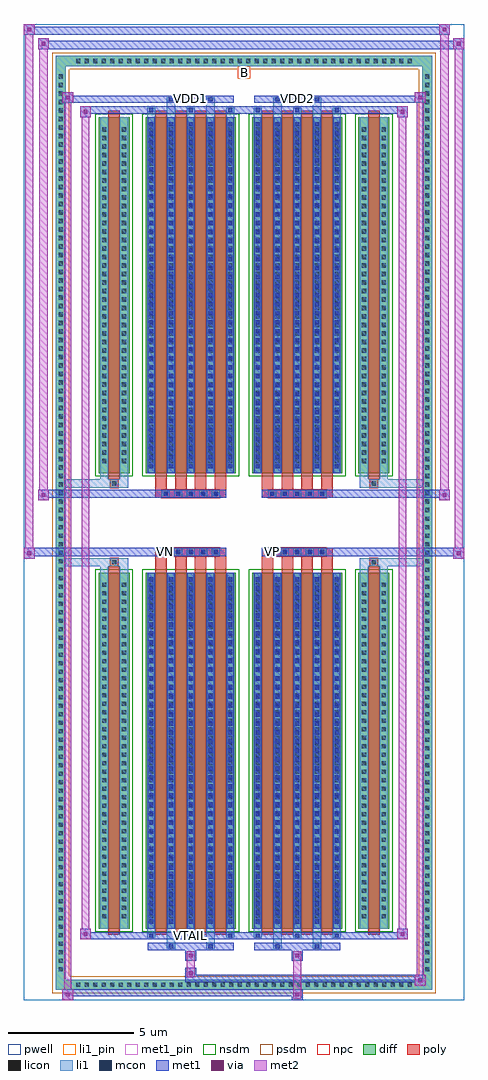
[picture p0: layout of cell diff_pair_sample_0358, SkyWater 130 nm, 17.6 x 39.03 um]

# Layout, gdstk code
import gdstk
lib = gdstk.Library(unit=1e-6, precision=5e-09)
def R(c, l, rs):  # rectangles x0, y0, x1, y1
    for r in rs: c.add(gdstk.rectangle(r[:2], r[2:], *l))
def A(c, l, x, y, w, h, nx, ny, dx, dy):  # array of equal rectangles
    R(c, l, [(x+i*dx, y+j*dy, x+i*dx+w, y+j*dy+h) for i in range(nx) for j in range(ny)])
def P(c, l, *ps):  # polygons
    for p in ps: c.add(gdstk.Polygon(p, *l))
pwell = (64, 44)
diff = (65, 20)
poly = (66, 20)
licon = (66, 44)
li1_pin = (67, 16)
li1 = (67, 20)
mcon = (67, 44)
met1_pin = (68, 16)
met1 = (68, 20)
via = (68, 44)
met2 = (69, 20)
nsdm = (93, 44)
psdm = (94, 20)
npc = (95, 20)

diff_pair_sample_0358 = lib.new_cell('diff_pair_sample_0358')
R(diff_pair_sample_0358, pwell, [(-8.8,-19.08,8.8,19.95), (-6.12,-17.27,-0.01,-0.795), (0.01,-17.27,6.12,-0.795), (-6.12,0.795,-0.01,17.27), (0.01,0.795,6.12,17.27)])
A(diff_pair_sample_0358, diff, -6.835, -18.68, 0.41, 0.41, 40, 2, 0.34, 36.95)
A(diff_pair_sample_0358, diff, -7.53, -18.055, 0.41, 0.41, 1, 106, 0, 0.34)
A(diff_pair_sample_0358, diff, 7.12, -18.055, 0.41, 0.41, 1, 106, 0, 0.34)
R(diff_pair_sample_0358, diff, [(-6.835,-18.68,6.835,-18.27), (-7.53,-18.055,-7.12,18.055), (7.12,-18.055,7.53,18.055), (-5.81,-16.225,-4.57,-1.985), (-3.93,-16.225,-0.32,-1.985), (0.32,-16.225,3.93,-1.985), (4.57,-16.225,5.81,-1.985), (-5.81,1.985,-4.57,16.225), (-3.93,1.985,-0.32,16.225), (0.32,1.985,3.93,16.225), (4.57,1.985,5.81,16.225), (-6.835,18.27,6.835,18.68)])
P(diff_pair_sample_0358, diff, [(7.53,18.68),(-7.53,18.68),(-7.53,-18.27),(-7.12,-18.27),(-7.12,18.27),(7.12,18.27),(7.12,-18.27),(-7.12,-18.27),(-7.53,-18.27),(-7.53,-18.68),(7.53,-18.68)])
A(diff_pair_sample_0358, poly, -3.54, -16.475, 0.46, 14.74, 4, 2, 0.79, 18.21)
A(diff_pair_sample_0358, poly, 0.71, -16.475, 0.46, 14.74, 4, 2, 0.79, 18.21)
A(diff_pair_sample_0358, poly, -3.54, -1.735, 0.46, 0.41, 4, 2, 0.79, 3.06)
A(diff_pair_sample_0358, poly, 0.71, -1.735, 0.46, 0.41, 4, 2, 0.79, 3.06)
A(diff_pair_sample_0358, poly, -3.29, -1.325, 0.33, 0.33, 5, 2, 0.5, 2.32)
A(diff_pair_sample_0358, poly, 0.96, -1.325, 0.33, 0.33, 5, 2, 0.5, 2.32)
R(diff_pair_sample_0358, poly, [(-5.42,-16.475,-4.96,-1.735), (4.96,-16.475,5.42,-1.735), (-5.355,-1.735,-5.025,-1.405), (-5.355,-1.735,-5.025,-1.405), (5.025,-1.735,5.355,-1.405), (5.025,-1.735,5.355,-1.405), (-3.54,-1.325,-0.71,-0.995), (0.71,-1.325,3.54,-0.995), (-3.54,0.995,-0.71,1.325), (0.71,0.995,3.54,1.325), (-5.355,1.405,-5.025,1.735), (-5.355,1.405,-5.025,1.735), (5.025,1.405,5.355,1.735), (5.025,1.405,5.355,1.735), (-5.42,1.735,-4.96,16.475), (4.96,1.735,5.42,16.475)])
A(diff_pair_sample_0358, licon, -6.715, -18.56, 0.17, 0.17, 40, 2, 0.34, 36.95)
A(diff_pair_sample_0358, licon, -7.41, -17.935, 0.17, 0.17, 1, 106, 0, 0.34)
A(diff_pair_sample_0358, licon, 7.24, -17.935, 0.17, 0.17, 1, 106, 0, 0.34)
A(diff_pair_sample_0358, licon, -5.67, -15.82, 0.17, 0.17, 1, 40, 0, 0.34)
A(diff_pair_sample_0358, licon, -4.88, -15.82, 0.17, 0.17, 1, 40, 0, 0.34)
A(diff_pair_sample_0358, licon, -3.79, -15.82, 0.17, 0.17, 5, 40, 0.79, 0.34)
A(diff_pair_sample_0358, licon, 0.46, -15.82, 0.17, 0.17, 5, 40, 0.79, 0.34)
A(diff_pair_sample_0358, licon, 4.71, -15.82, 0.17, 0.17, 1, 40, 0, 0.34)
A(diff_pair_sample_0358, licon, 5.5, -15.82, 0.17, 0.17, 1, 40, 0, 0.34)
A(diff_pair_sample_0358, licon, -3.21, -1.245, 0.17, 0.17, 5, 2, 0.5, 2.32)
A(diff_pair_sample_0358, licon, 1.04, -1.245, 0.17, 0.17, 5, 2, 0.5, 2.32)
A(diff_pair_sample_0358, licon, -5.67, 2.39, 0.17, 0.17, 1, 40, 0, 0.34)
A(diff_pair_sample_0358, licon, -4.88, 2.39, 0.17, 0.17, 1, 40, 0, 0.34)
A(diff_pair_sample_0358, licon, -3.79, 2.39, 0.17, 0.17, 5, 40, 0.79, 0.34)
A(diff_pair_sample_0358, licon, 0.46, 2.39, 0.17, 0.17, 5, 40, 0.79, 0.34)
A(diff_pair_sample_0358, licon, 4.71, 2.39, 0.17, 0.17, 1, 40, 0, 0.34)
A(diff_pair_sample_0358, licon, 5.5, 2.39, 0.17, 0.17, 1, 40, 0, 0.34)
R(diff_pair_sample_0358, licon, [(-5.275,-1.655,-5.105,-1.485), (5.105,-1.655,5.275,-1.485), (-5.275,1.485,-5.105,1.655), (5.105,1.485,5.275,1.655)])
R(diff_pair_sample_0358, li1_pin, [(-0.25,17.77,0.25,18.27)])
A(diff_pair_sample_0358, li1, -6.795, -18.64, 0.33, 0.33, 40, 2, 0.34, 36.95)
A(diff_pair_sample_0358, li1, -7.49, -18.015, 0.33, 0.33, 1, 106, 0, 0.34)
A(diff_pair_sample_0358, li1, 7.16, -18.015, 0.33, 0.33, 1, 106, 0, 0.34)
A(diff_pair_sample_0358, li1, -3.87, -16.6, 0.33, 0.375, 3, 2, 1.58, 32.825)
A(diff_pair_sample_0358, li1, -3.79, -16.6, 0.17, 0.17, 3, 2, 1.58, 33.03)
A(diff_pair_sample_0358, li1, 0.38, -16.6, 0.33, 0.375, 3, 2, 1.58, 32.825)
A(diff_pair_sample_0358, li1, 0.46, -16.6, 0.17, 0.17, 3, 2, 1.58, 33.03)
A(diff_pair_sample_0358, li1, -3.87, -16.225, 0.33, 14.24, 5, 2, 0.79, 18.21)
A(diff_pair_sample_0358, li1, 0.38, -16.225, 0.33, 14.24, 5, 2, 0.79, 18.21)
A(diff_pair_sample_0358, li1, -3.79, -16.03, 0.17, 0.17, 5, 39, 0.79, 0.36)
A(diff_pair_sample_0358, li1, -3.79, -16.03, 0.17, 13.85, 5, 2, 0.79, 18.21)
A(diff_pair_sample_0358, li1, 0.46, -16.03, 0.17, 0.17, 5, 39, 0.79, 0.36)
A(diff_pair_sample_0358, li1, 0.46, -16.03, 0.17, 13.85, 5, 2, 0.79, 18.21)
A(diff_pair_sample_0358, li1, -5.75, -15.9, 0.33, 0.33, 1, 40, 0, 0.34)
A(diff_pair_sample_0358, li1, -4.96, -15.9, 0.33, 0.33, 1, 40, 0, 0.34)
A(diff_pair_sample_0358, li1, -3.87, -15.9, 0.33, 0.33, 5, 40, 0.79, 0.34)
A(diff_pair_sample_0358, li1, 0.38, -15.9, 0.33, 0.33, 5, 40, 0.79, 0.34)
A(diff_pair_sample_0358, li1, 4.63, -15.9, 0.33, 0.33, 1, 40, 0, 0.34)
A(diff_pair_sample_0358, li1, 5.42, -15.9, 0.33, 0.33, 1, 40, 0, 0.34)
A(diff_pair_sample_0358, li1, -3.29, -1.325, 0.33, 0.33, 5, 2, 0.5, 2.32)
A(diff_pair_sample_0358, li1, 0.96, -1.325, 0.33, 0.33, 5, 2, 0.5, 2.32)
A(diff_pair_sample_0358, li1, -3.79, 2.18, 0.17, 0.17, 5, 39, 0.79, 0.36)
A(diff_pair_sample_0358, li1, 0.46, 2.18, 0.17, 0.17, 5, 39, 0.79, 0.36)
A(diff_pair_sample_0358, li1, -5.75, 2.31, 0.33, 0.33, 1, 40, 0, 0.34)
A(diff_pair_sample_0358, li1, -4.96, 2.31, 0.33, 0.33, 1, 40, 0, 0.34)
A(diff_pair_sample_0358, li1, -3.87, 2.31, 0.33, 0.33, 5, 40, 0.79, 0.34)
A(diff_pair_sample_0358, li1, 0.38, 2.31, 0.33, 0.33, 5, 40, 0.79, 0.34)
A(diff_pair_sample_0358, li1, 4.63, 2.31, 0.33, 0.33, 1, 40, 0, 0.34)
A(diff_pair_sample_0358, li1, 5.42, 2.31, 0.33, 0.33, 1, 40, 0, 0.34)
R(diff_pair_sample_0358, li1, [(-7.53,-18.68,-7.12,-18.27), (-7.53,-18.68,-7.12,-18.27), (-7.12,-18.68,7.12,-18.27), (7.12,-18.68,7.53,-18.27), (7.12,-18.68,7.53,-18.27), (-7.53,-18.27,-7.12,18.27), (7.12,-18.27,7.53,18.27), (-3.08,-17.03,-2.75,-16.225), (-3,-17.03,-2.83,-16.86), (-1.5,-17.03,-1.17,-16.225), (-1.42,-17.03,-1.25,-16.86), (1.17,-17.03,1.5,-16.225), (1.25,-17.03,1.42,-16.86), (2.75,-17.03,3.08,-16.225), (2.83,-17.03,3,-16.86), (-5.75,-16.225,-5.42,-1.985), (-4.96,-16.225,-4.63,-1.985), (4.63,-16.225,4.96,-1.985), (5.42,-16.225,5.75,-1.985), (-5.75,-1.985,-5.42,-1.405), (-4.96,-1.985,-4.63,-1.405), (4.63,-1.985,4.96,-1.405), (5.42,-1.985,5.75,-1.405), (-7.53,-1.735,-5.355,-1.405), (-5.75,-1.735,-5.355,-1.405), (-5.355,-1.735,-5.025,-1.405), (-5.025,-1.735,-4.63,-1.405), (4.63,-1.735,5.025,-1.405), (5.025,-1.735,5.355,-1.405), (5.025,-1.735,7.53,-1.405), (5.355,-1.735,5.75,-1.405), (-7.53,1.405,-5.355,1.735), (-5.75,1.405,-5.355,1.735), (-5.75,1.405,-5.42,1.985), (-5.355,1.405,-5.025,1.735), (-5.025,1.405,-4.63,1.735), (-4.96,1.405,-4.63,1.985), (4.63,1.405,5.025,1.735), (4.63,1.405,4.96,1.985), (5.025,1.405,5.355,1.735), (5.025,1.405,7.53,1.735), (5.355,1.405,5.75,1.735), (5.42,1.405,5.75,1.985), (-5.75,1.985,-5.42,16.225), (-4.96,1.985,-4.63,16.225), (4.63,1.985,4.96,16.225), (5.42,1.985,5.75,16.225), (-3.08,16.225,-2.75,17.03), (-1.5,16.225,-1.17,17.03), (1.17,16.225,1.5,17.03), (2.75,16.225,3.08,17.03), (-3,16.86,-2.83,17.03), (-1.42,16.86,-1.25,17.03), (1.25,16.86,1.42,17.03), (2.83,16.86,3,17.03), (-7.53,18.27,-7.12,18.68), (-7.53,18.27,-7.12,18.68), (-7.12,18.27,7.12,18.68), (7.12,18.27,7.53,18.68), (7.12,18.27,7.53,18.68)])
A(diff_pair_sample_0358, mcon, -3.79, -16.6, 0.17, 0.17, 3, 2, 1.58, 33.03)
A(diff_pair_sample_0358, mcon, 0.46, -16.6, 0.17, 0.17, 3, 2, 1.58, 33.03)
A(diff_pair_sample_0358, mcon, -3.79, -16.03, 0.17, 0.17, 5, 39, 0.79, 0.36)
A(diff_pair_sample_0358, mcon, 0.46, -16.03, 0.17, 0.17, 5, 39, 0.79, 0.36)
A(diff_pair_sample_0358, mcon, -3.21, -1.245, 0.17, 0.17, 5, 2, 0.5, 2.32)
A(diff_pair_sample_0358, mcon, 1.04, -1.245, 0.17, 0.17, 5, 2, 0.5, 2.32)
A(diff_pair_sample_0358, mcon, -3.79, 2.18, 0.17, 0.17, 5, 39, 0.79, 0.36)
A(diff_pair_sample_0358, mcon, 0.46, 2.18, 0.17, 0.17, 5, 39, 0.79, 0.36)
R(diff_pair_sample_0358, mcon, [(-3,-17.03,-2.83,-16.86), (-1.42,-17.03,-1.25,-16.86), (1.25,-17.03,1.42,-16.86), (2.83,-17.03,3,-16.86), (-3,16.86,-2.83,17.03), (-1.42,16.86,-1.25,17.03), (1.25,16.86,1.42,17.03), (2.83,16.86,3,17.03)])
R(diff_pair_sample_0358, met1_pin, [(-2.26,-16.64,-1.99,-16.37), (-3.26,-1.285,-2.99,-1.015), (0.99,-1.285,1.26,-1.015), (-2.26,16.82,-1.99,17.09), (1.99,16.82,2.26,17.09)])
A(diff_pair_sample_0358, met1, -3.85, -16.66, 0.29, 0.29, 3, 2, 1.58, 33.03)
A(diff_pair_sample_0358, met1, 0.4, -16.66, 0.29, 0.29, 3, 2, 1.58, 33.03)
A(diff_pair_sample_0358, met1, -3.85, -16.225, 0.29, 14.24, 5, 2, 0.79, 18.21)
A(diff_pair_sample_0358, met1, 0.4, -16.225, 0.29, 14.24, 5, 2, 0.79, 18.21)
A(diff_pair_sample_0358, met1, -3.85, -16.09, 0.29, 0.29, 5, 39, 0.79, 0.36)
A(diff_pair_sample_0358, met1, 0.4, -16.09, 0.29, 0.29, 5, 39, 0.79, 0.36)
A(diff_pair_sample_0358, met1, -3.27, -1.305, 0.29, 0.29, 5, 2, 0.5, 2.32)
A(diff_pair_sample_0358, met1, 0.98, -1.305, 0.29, 0.29, 5, 2, 0.5, 2.32)
A(diff_pair_sample_0358, met1, -3.85, 2.12, 0.29, 0.29, 5, 39, 0.79, 0.36)
A(diff_pair_sample_0358, met1, 0.4, 2.12, 0.29, 0.29, 5, 39, 0.79, 0.36)
R(diff_pair_sample_0358, met1, [(-7.26,-19.08,-6.83,-18.65), (1.91,-19.08,2.34,-18.65), (-7.26,-18.94,2.34,-18.65), (6.83,-18.51,7.26,-18.08), (-2.34,-18.37,7.26,-18.08), (-2.34,-18.23,-1.91,-17.8), (-2.34,-17.52,-1.91,-17.09), (1.91,-17.52,2.34,-17.09), (-3.85,-17.09,-0.4,-16.8), (-3.06,-17.09,-2.77,-16.8), (-1.48,-17.09,-1.19,-16.8), (0.4,-17.09,3.85,-16.8), (1.19,-17.09,1.48,-16.8), (2.77,-17.09,3.06,-16.8), (-6.55,-16.66,-6.12,-16.23), (-6.55,-16.66,-3.85,-16.37), (-3.85,-16.66,-0.4,-16.37), (-0.4,-16.66,0.4,-16.37), (0.4,-16.66,3.85,-16.37), (3.85,-16.66,6.55,-16.37), (6.12,-16.66,6.55,-16.23), (-8.8,-1.425,-8.37,-0.995), (8.37,-1.425,8.8,-0.995), (-8.8,-1.325,-0.71,-0.995), (-3.54,-1.325,-0.71,-0.995), (0.71,-1.325,3.54,-0.995), (0.71,-1.325,8.8,-0.995), (-8.23,0.895,-7.8,1.325), (7.8,0.895,8.23,1.325), (-8.23,0.995,-3.54,1.325), (-3.54,0.995,-0.71,1.325), (0.71,0.995,3.54,1.325), (3.54,0.995,8.23,1.325), (-6.55,16.23,-6.12,16.66), (6.12,16.23,6.55,16.66), (-6.55,16.37,-3.85,16.66), (-3.85,16.37,-0.4,16.66), (-0.4,16.37,0.4,16.66), (0.4,16.37,3.85,16.66), (3.85,16.37,6.55,16.66), (-7.26,16.8,-6.83,17.23), (-7.26,16.8,-3.85,17.09), (-3.85,16.8,-0.4,17.09), (-3.06,16.8,-2.77,17.09), (-1.48,16.8,-1.19,17.09), (0.4,16.8,3.85,17.09), (1.19,16.8,1.48,17.09), (2.77,16.8,3.06,17.09), (3.85,16.8,7.26,17.09), (6.83,16.8,7.26,17.23), (-8.23,18.95,-7.8,19.38), (-8.23,18.95,-6.12,19.28), (-6.12,18.95,6.12,19.28), (6.12,18.95,8.8,19.28), (8.37,18.95,8.8,19.38), (-8.8,19.52,-8.37,19.95), (-8.8,19.52,-6.12,19.85), (-6.12,19.52,6.12,19.85), (6.12,19.52,8.23,19.85), (7.8,19.52,8.23,19.95)])
R(diff_pair_sample_0358, via, [(-7.12,-18.94,-6.97,-18.79), (2.05,-18.94,2.2,-18.79), (6.97,-18.37,7.12,-18.22), (-2.2,-18.09,-2.05,-17.94), (-2.2,-17.38,-2.05,-17.23), (2.05,-17.38,2.2,-17.23), (-6.41,-16.52,-6.26,-16.37), (6.26,-16.52,6.41,-16.37), (-8.66,-1.285,-8.51,-1.135), (8.51,-1.285,8.66,-1.135), (-8.09,1.035,-7.94,1.185), (7.94,1.035,8.09,1.185), (-6.41,16.37,-6.26,16.52), (6.26,16.37,6.41,16.52), (-7.12,16.94,-6.97,17.09), (6.97,16.94,7.12,17.09), (-8.09,19.09,-7.94,19.24), (8.51,19.09,8.66,19.24), (-8.66,19.66,-8.51,19.81), (7.94,19.66,8.09,19.81)])
R(diff_pair_sample_0358, met2, [(-7.26,-19.08,-6.83,-18.65), (-7.19,-19.08,-6.9,17.23), (-6.9,-19.08,-6.83,-18.65), (-7.21,-19.03,-6.88,-18.7), (1.96,-19.03,2.29,-18.7), (1.96,-18.7,2.29,-17.47), (6.83,-18.51,7.26,-18.08), (6.9,-18.51,7.19,17.23), (7.19,-18.51,7.26,-18.08), (6.88,-18.46,7.21,-18.13), (-2.29,-18.18,-1.96,-17.85), (-2.29,-17.85,-1.96,-17.47), (-2.29,-17.47,-1.96,-17.14), (1.96,-17.47,2.29,-17.14), (-6.55,-16.66,-6.12,-16.23), (-6.48,-16.66,-6.19,16.66), (-6.19,-16.66,-6.12,-16.23), (6.12,-16.66,6.55,-16.23), (6.19,-16.66,6.48,16.66), (6.48,-16.66,6.55,-16.23), (-6.5,-16.61,-6.17,-16.28), (6.17,-16.61,6.5,-16.28), (-8.8,-1.425,-8.37,-0.995), (-8.75,-1.425,-8.42,19.95), (-8.42,-1.425,-8.37,-0.995), (8.37,-1.425,8.8,-0.995), (8.42,-1.425,8.75,19.38), (8.75,-1.425,8.8,-0.995), (-8.75,-1.375,-8.42,-1.045), (8.42,-1.375,8.75,-1.045), (-8.23,0.895,-7.8,1.325), (-8.18,0.895,-7.85,19.38), (-7.85,0.895,-7.8,1.325), (7.8,0.895,8.23,1.325), (7.85,0.895,8.18,19.95), (8.18,0.895,8.23,1.325), (-8.18,0.945,-7.85,1.275), (7.85,0.945,8.18,1.275), (-6.55,16.23,-6.12,16.66), (-6.19,16.23,-6.12,16.66), (6.12,16.23,6.55,16.66), (6.48,16.23,6.55,16.66), (-6.5,16.28,-6.17,16.61), (6.17,16.28,6.5,16.61), (-7.26,16.8,-6.83,17.23), (-6.9,16.8,-6.83,17.23), (6.83,16.8,7.26,17.23), (7.19,16.8,7.26,17.23), (-7.21,16.85,-6.88,17.18), (6.88,16.85,7.21,17.18), (-8.23,18.95,-7.8,19.38), (-7.85,18.95,-7.8,19.38), (8.37,18.95,8.8,19.38), (8.75,18.95,8.8,19.38), (-8.18,19,-7.85,19.33), (8.42,19,8.75,19.33), (-8.8,19.52,-8.37,19.95), (-8.42,19.52,-8.37,19.95), (7.8,19.52,8.23,19.95), (8.18,19.52,8.23,19.95), (-8.75,19.57,-8.42,19.9), (7.85,19.57,8.18,19.9)])
R(diff_pair_sample_0358, nsdm, [(-5.94,-16.355,-4.44,-1.855), (-4.06,-16.355,-0.19,-1.855), (0.19,-16.355,4.06,-1.855), (4.44,-16.355,5.94,-1.855), (-5.94,1.855,-4.44,16.355), (-4.06,1.855,-0.19,16.355), (0.19,1.855,4.06,16.355), (4.44,1.855,5.94,16.355)])
P(diff_pair_sample_0358, psdm, [(7.66,18.81),(-7.66,18.81),(-7.66,-18.14),(-6.99,-18.14),(-6.99,18.14),(6.99,18.14),(6.99,-18.14),(-6.99,-18.14),(-7.66,-18.14),(-7.66,-18.81),(7.66,-18.81)])
A(diff_pair_sample_0358, npc, -3.31, -1.345, 0.37, 0.37, 5, 2, 0.5, 2.32)
A(diff_pair_sample_0358, npc, 0.94, -1.345, 0.37, 0.37, 5, 2, 0.5, 2.32)
R(diff_pair_sample_0358, npc, [(-5.375,-1.755,-5.005,-1.385), (5.005,-1.755,5.375,-1.385), (-3.31,-1.345,-2.44,-0.975), (-3.31,-1.345,-2.44,-0.975), (-2.81,-1.345,-1.94,-0.975), (-2.81,-1.345,-1.94,-0.975), (-2.31,-1.345,-1.44,-0.975), (-2.31,-1.345,-1.44,-0.975), (-1.81,-1.345,-0.94,-0.975), (-1.81,-1.345,-0.94,-0.975), (0.94,-1.345,1.81,-0.975), (0.94,-1.345,1.81,-0.975), (1.44,-1.345,2.31,-0.975), (1.44,-1.345,2.31,-0.975), (1.94,-1.345,2.81,-0.975), (1.94,-1.345,2.81,-0.975), (2.44,-1.345,3.31,-0.975), (2.44,-1.345,3.31,-0.975), (-3.31,0.975,-2.44,1.345), (-3.31,0.975,-2.44,1.345), (-2.81,0.975,-1.94,1.345), (-2.81,0.975,-1.94,1.345), (-2.31,0.975,-1.44,1.345), (-2.31,0.975,-1.44,1.345), (-1.81,0.975,-0.94,1.345), (-1.81,0.975,-0.94,1.345), (0.94,0.975,1.81,1.345), (0.94,0.975,1.81,1.345), (1.44,0.975,2.31,1.345), (1.44,0.975,2.31,1.345), (1.94,0.975,2.81,1.345), (1.94,0.975,2.81,1.345), (2.44,0.975,3.31,1.345), (2.44,0.975,3.31,1.345), (-5.375,1.385,-5.005,1.755), (5.005,1.385,5.375,1.755)])
diff_pair_sample_0358.add(gdstk.Label('VTAIL', (-2.125,-16.505), layer=68, texttype=5))
diff_pair_sample_0358.add(gdstk.Label('VN', (-3.125,-1.15), layer=68, texttype=5))
diff_pair_sample_0358.add(gdstk.Label('VP', (1.125,-1.15), layer=68, texttype=5))
diff_pair_sample_0358.add(gdstk.Label('B', (0,18.02), layer=67, texttype=5))
diff_pair_sample_0358.add(gdstk.Label('VDD2', (2.125,16.955), layer=68, texttype=5))
diff_pair_sample_0358.add(gdstk.Label('VDD1', (-2.125,16.955), layer=68, texttype=5))

lib.write_gds('diff_pair_sample_0358.gds')
